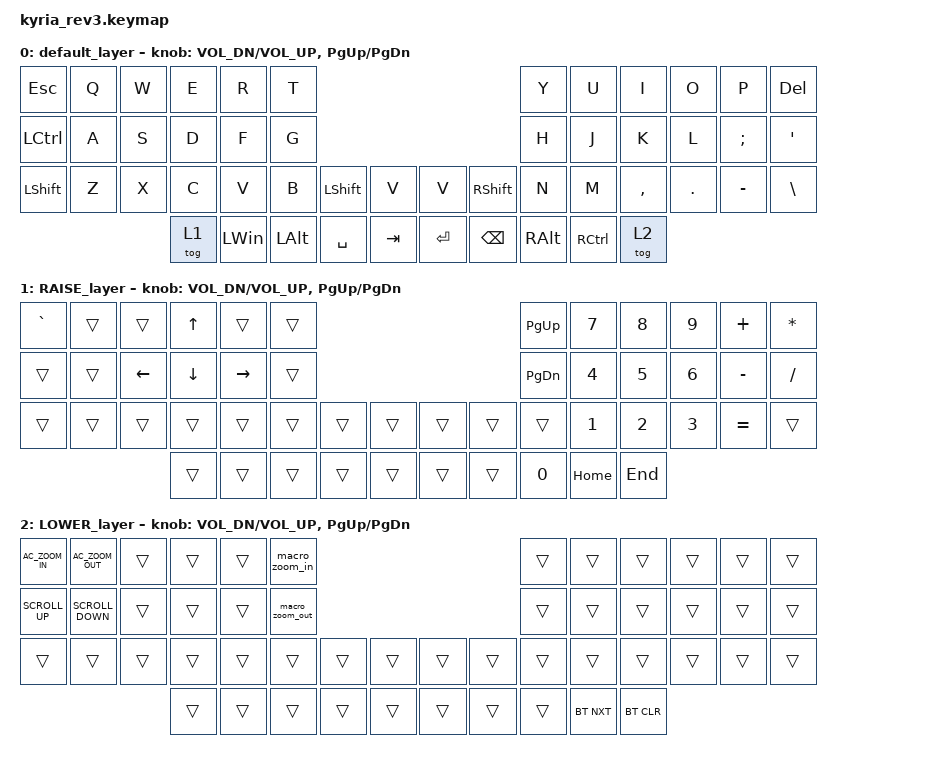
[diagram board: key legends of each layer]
/*
 * Copyright (c) 2023 The ZMK Contributors
 *
 * SPDX-License-Identifier: MIT
 */

#include <behaviors.dtsi>
#include <dt-bindings/zmk/bt.h>
#include <dt-bindings/zmk/keys.h>

#define BASE 0
#define RAISE 1
#define LOWER 2

/ {
    macros {
        macro_zoom_in: macro_zoom_in {
            label = "ZM_ZoomIN";
            compatible = "zmk,behavior-macro";
            #binding-cells = <0>;
            bindings =
                <&macro_press>,
                <&kp LCTRL>,
                <&macro_tap>,
                <&kp C_AC_ZOOM_IN>,
                <&macro_release>,
                <&kp LCTRL>;
        };

        macro_zoom_out: macro_zoom_out {
            label = "ZM_ZoomOUT";
            compatible = "zmk,behavior-macro";
            #binding-cells = <0>;
            bindings =
                <&macro_press>,
                <&kp LCTRL>,
                <&macro_tap>,
                <&kp C_AC_ZOOM_OUT>,
                <&macro_release>,
                <&kp LCTRL>;
        };
    };
};

/* Uncomment this block if using RGB
&led_strip {
	chain-length = <6>;
	// chain-legth = <31>; // Uncomment if using both per-key and underglow LEDs
	// chain-legth = <25>; // Uncomment if using only per-key LEDs.
};
*/

/ {
    keymap {
        compatible = "zmk,keymap";

        default_layer {
            bindings = <
&kp ESCAPE        &kp Q  &kp W  &kp E   &kp R         &kp T                                                              &kp Y          &kp U              &kp I      &kp O    &kp P      &kp DELETE
&kp LEFT_CONTROL  &kp A  &kp S  &kp D   &kp F         &kp G                                                              &kp H          &kp J              &kp K      &kp L    &kp SEMI   &kp SQT
&kp LEFT_SHIFT    &kp Z  &kp X  &kp C   &kp V         &kp B         &kp LEFT_SHIFT  &kp V    &kp V      &kp RIGHT_SHIFT  &kp N          &kp M              &kp COMMA  &kp DOT  &kp MINUS  &kp BSLH
                                &tog 1  &kp LEFT_WIN  &kp LEFT_ALT  &kp SPACE       &kp TAB  &kp ENTER  &kp BACKSPACE    &kp RIGHT_ALT  &kp RIGHT_CONTROL  &tog 2
            >;

            sensor-bindings = <&inc_dec_kp C_VOL_DN C_VOL_UP &inc_dec_kp PG_UP PG_DN>;
        };

        RAISE_layer {
            bindings = <
&kp GRAVE  &trans  &trans    &kp UP    &trans     &trans                                  &kp PG_UP  &kp N7    &kp N8   &kp N9  &kp PLUS   &kp ASTERISK
&trans     &trans  &kp LEFT  &kp DOWN  &kp RIGHT  &trans                                  &kp PG_DN  &kp N4    &kp N5   &kp N6  &kp MINUS  &kp SLASH
&trans     &trans  &trans    &trans    &trans     &trans  &trans  &trans  &trans  &trans  &trans     &kp N1    &kp N2   &kp N3  &kp EQUAL  &trans
                             &trans    &trans     &trans  &trans  &trans  &trans  &trans  &kp N0     &kp HOME  &kp END
            >;

            sensor-bindings = <&inc_dec_kp C_VOL_DN C_VOL_UP &inc_dec_kp PG_UP PG_DN>;
        };

        LOWER_layer {
            bindings = <
&kp C_AC_ZOOM_IN  &kp C_AC_ZOOM_OUT  &trans  &trans  &trans  &macro_zoom_in                                   &trans  &trans      &trans      &trans  &trans  &trans
&kp K_SCROLL_UP   &kp K_SCROLL_DOWN  &trans  &trans  &trans  &macro_zoom_out                                  &trans  &trans      &trans      &trans  &trans  &trans
&trans            &trans             &trans  &trans  &trans  &trans           &trans  &trans  &trans  &trans  &trans  &trans      &trans      &trans  &trans  &trans
                                             &trans  &trans  &trans           &trans  &trans  &trans  &trans  &trans  &bt BT_NXT  &bt BT_CLR
            >;

            sensor-bindings = <&inc_dec_kp C_VOL_DN C_VOL_UP &inc_dec_kp PG_UP PG_DN>;
        };
    };
};
